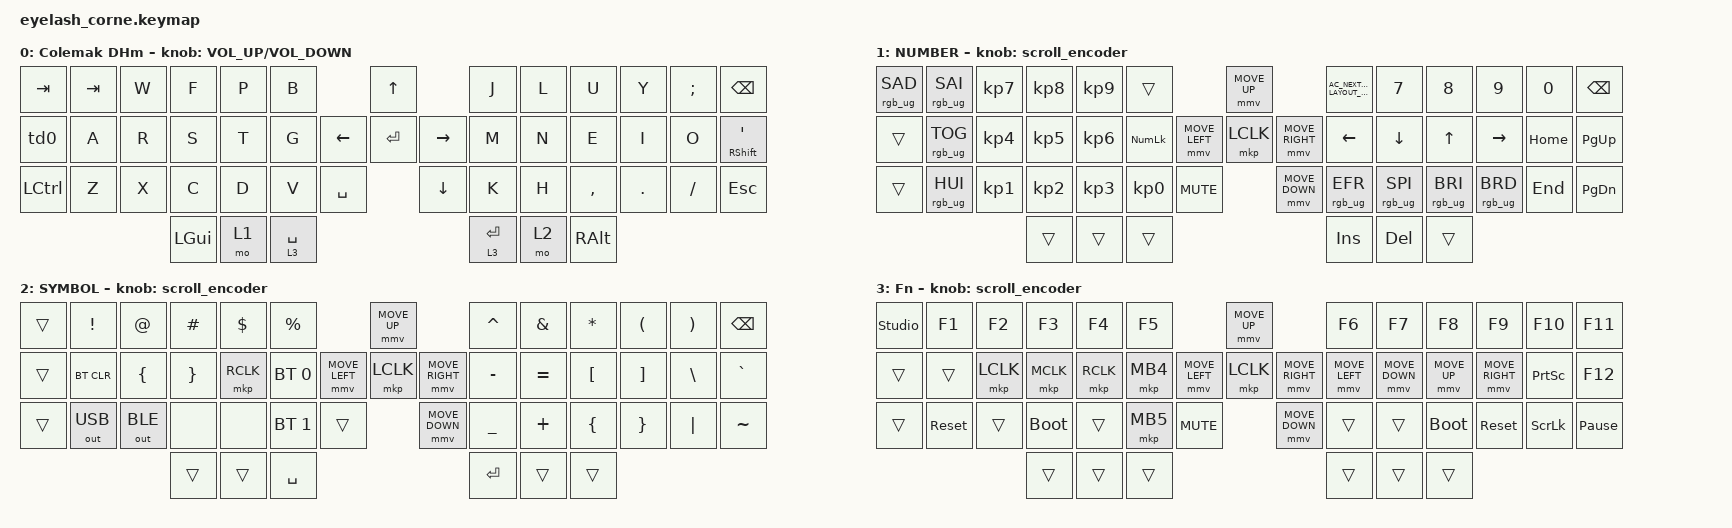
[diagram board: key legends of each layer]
#include <dt-bindings/zmk/mouse.h>
#include <input/processors.dtsi>
#include <behaviors.dtsi>
#include <dt-bindings/zmk/bt.h>
#include <dt-bindings/zmk/keys.h>
#include <dt-bindings/zmk/outputs.h>
#include <dt-bindings/zmk/pointing.h>
#include <dt-bindings/zmk/rgb.h>

/*

   &mmv_input_listener {
       input-processors = <&zip_xy_scaler 2 1>;
   };

   &msc_input_listener {
       input-processors = <&zip_xy_scaler 2 1>;
   };

 */

#define ZMK_MOUSE_DEFAULT_MOVE_VAL 1200  // 600
#define ZMK_MOUSE_DEFAULT_SCRL_VAL 20    // 10

/ {
    behaviors {
        td0: td0 {
            compatible = "zmk,behavior-tap-dance";
            display-name = "Shift/Caps Lock Tap Dance";
            #binding-cells = <0>;
            bindings = <&kp LEFT_SHIFT>, <&kp CAPS>;
        };
    };

    rgb_encoder: rgb_encoder {
        compatible = "zmk,behavior-sensor-rotate";
        #sensor-binding-cells = <0>;
        bindings = <&rgb_ug RGB_BRI>, <&rgb_ug RGB_BRD>;
    };

    scroll_encoder: scroll_encoder {
        compatible = "zmk,behavior-sensor-rotate";
        #sensor-binding-cells = <0>;
        bindings = <&msc SCRL_DOWN>, <&msc SCRL_UP>;

        tap-ms = <30>;
    };

    keymap {
        compatible = "zmk,keymap";

        default_layer {
            display-name = "Colemak DHm";
            bindings = <
&kp TAB    &kp TAB  &kp W  &kp F     &kp P  &kp B                               &kp UP                &kp J        &kp L  &kp U      &kp Y    &kp SEMICOLON  &kp BACKSPACE
&td0       &kp A    &kp R  &kp S     &kp T  &kp G                     &kp LEFT  &kp ENTER  &kp RIGHT  &kp M        &kp N  &kp E      &kp I    &kp O          &mt RIGHT_SHIFT SQT
&kp LCTRL  &kp Z    &kp X  &kp C     &kp D  &kp V        &kp SPACE              &kp DOWN              &kp K        &kp H  &kp COMMA  &kp DOT  &kp FSLH       &kp ESC
                           &kp LGUI  &mo 1  &lt 3 SPACE                                               &lt 3 ENTER  &mo 2  &kp RALT
            >;

            sensor-bindings = <&inc_dec_kp C_VOLUME_UP C_VOLUME_DOWN>;
        };

        lower_layer {
            display-name = "NUMBER";
            bindings = <
&rgb_ug RGB_SAD  &rgb_ug RGB_SAI  &kp KP_NUMBER_7  &kp KP_NUMBER_8  &kp KP_NUMBER_9  &trans                                         &mmv MOVE_UP                     &kp C_AC_NEXT_KEYBOARD_LAYOUT_SELECT  &kp N7           &kp N8           &kp N9           &kp N0    &kp BSPC
&trans           &rgb_ug RGB_TOG  &kp KP_NUMBER_4  &kp KP_NUMBER_5  &kp KP_NUMBER_6  &kp KP_NUMLOCK                 &mmv MOVE_LEFT  &mkp LCLK       &mmv MOVE_RIGHT  &kp LEFT_ARROW                        &kp DOWN_ARROW   &kp UP_ARROW     &kp RIGHT        &kp HOME  &kp PG_UP
&trans           &rgb_ug RGB_HUI  &kp KP_NUMBER_1  &kp KP_NUMBER_2  &kp KP_NUMBER_3  &kp KP_NUMBER_0  &kp C_MUTE                    &mmv MOVE_DOWN                   &rgb_ug RGB_EFR                       &rgb_ug RGB_SPI  &rgb_ug RGB_BRI  &rgb_ug RGB_BRD  &kp END   &kp PG_DN
                                                   &trans           &trans           &trans                                                                          &kp INS                               &kp DEL          &trans
            >;

            sensor-bindings = <&scroll_encoder>;
        };

        raise_layer {
            display-name = "SYMBOL";
            bindings = <
&trans  &kp EXCL      &kp AT          &kp HASH         &kp DLLR   &kp PRCNT                               &mmv MOVE_UP                     &kp CARET  &kp AMPS   &kp ASTRK  &kp LPAR  &kp RPAR  &kp BSPC
&trans  &bt BT_CLR    &kp LEFT_BRACE  &kp RIGHT_BRACE  &mkp RCLK  &bt BT_SEL 0            &mmv MOVE_LEFT  &mkp LCLK       &mmv MOVE_RIGHT  &kp MINUS  &kp EQUAL  &kp LBKT   &kp RBKT  &kp BSLH  &kp GRAVE
&trans  &out OUT_USB  &out OUT_BLE    &none            &none      &bt BT_SEL 1  &trans                    &mmv MOVE_DOWN                   &kp UNDER  &kp PLUS   &kp LBRC   &kp RBRC  &kp PIPE  &kp TILDE
                                      &trans           &trans     &kp SPACE                                                                &kp RET    &trans     &trans
            >;

            sensor-bindings = <&scroll_encoder>;
        };

        layer_3 {
            display-name = "Fn";
            bindings = <
&studio_unlock  &kp F1      &kp F2     &kp F3       &kp F4     &kp F5                                  &mmv MOVE_UP                     &kp F6          &kp F7          &kp F8        &kp F9           &kp F10          &kp F11
&trans          &trans      &mkp LCLK  &mkp MCLK    &mkp RCLK  &mkp MB4                &mmv MOVE_LEFT  &mkp LCLK       &mmv MOVE_RIGHT  &mmv MOVE_LEFT  &mmv MOVE_DOWN  &mmv MOVE_UP  &mmv MOVE_RIGHT  &kp PRINTSCREEN  &kp F12
&trans          &sys_reset  &trans     &bootloader  &trans     &mkp MB5  &kp C_MUTE                    &mmv MOVE_DOWN                   &trans          &trans          &bootloader   &sys_reset       &kp SCROLLLOCK   &kp PAUSE_BREAK
                                       &trans       &trans     &trans                                                                   &trans          &trans          &trans
            >;

            sensor-bindings = <&scroll_encoder>;
        };
    };
};
